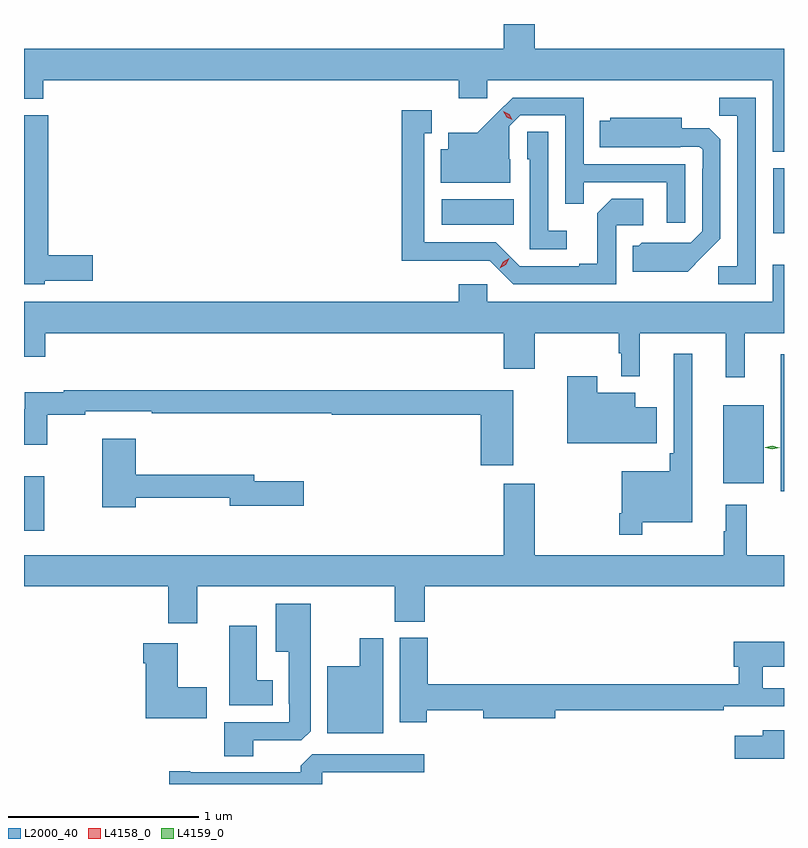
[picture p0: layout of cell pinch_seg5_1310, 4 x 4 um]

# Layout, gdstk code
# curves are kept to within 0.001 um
import gdstk
lib = gdstk.Library(unit=1e-6, precision=1e-09)
def R(c, l, rs):  # rectangles x0, y0, x1, y1
    for r in rs: c.add(gdstk.rectangle(r[:2], r[2:], *l))
def P(c, l, *ps):  # polygons
    for p in ps: c.add(gdstk.Polygon(p, *l))
L2000_40 = (2000, 40)
L4158_0 = (4158, 0)
L4159_0 = (4159, 0)

pinch_seg5_1310 = lib.new_cell('pinch_seg5_1310')
R(pinch_seg5_1310, L2000_40, [(306.34,877.032,306.447,877.318), (310.322,877.241,310.34,877.962), (310.019,877.283,310.234,877.693), (310.283,878.598,310.34,878.941), (308.538,878.642,308.918,878.776)])
P(pinch_seg5_1310, L2000_40, [(310.34,879.568),(309.028,879.568),(309.028,879.699),(308.864,879.699),(308.864,879.568),(306.34,879.568),(306.34,879.305),(306.44,879.305),(306.44,879.404),(308.627,879.404),(308.627,879.309),(308.778,879.309),(308.778,879.404),(310.28,879.404),(310.28,879.026),(310.34,879.026)],
  [(310.191,879.312),(310,879.312),(310,879.217),(310.095,879.217),(310.095,878.424),(309.993,878.424),(309.993,878.328),(310.191,878.328)],
  [(309.819,878.961),(309.285,878.961),(309.285,879.312),(308.912,879.312),(308.725,879.127),(308.573,879.127),(308.573,879.04),(308.534,879.04),(308.534,878.864),(308.899,878.864),(308.899,878.988),(308.895,878.988),(308.895,879.162),(308.952,879.219),(309.189,879.219),(309.189,878.752),(309.287,878.752),(309.287,878.865),(309.723,878.865),(309.723,878.652),(309.819,878.652)],
  [(309.456,878.64),(309.598,878.64),(309.598,878.78),(309.433,878.78),(309.357,878.704),(309.357,878.437),(309.263,878.437),(309.263,878.424),(308.949,878.424),(308.823,878.55),(308.446,878.55),(308.446,879.123),(308.485,879.123),(308.485,879.244),(308.328,879.244),(308.328,878.453),(308.79,878.454),(308.916,878.328),(309.456,878.328)],
  [(306.45,878.348),(306.703,878.348),(306.703,878.483),(306.467,878.483),(306.467,879.218),(306.34,879.218),(306.34,879.12),(306.341,879.12),(306.341,878.608),(306.34,878.608),(306.34,878.33),(306.45,878.33)],
  [(309.913,878.477),(310.005,878.57),(310.005,879.092),(309.946,879.151),(309.802,879.151),(309.802,879.205),(309.426,879.205),(309.426,879.19),(309.37,879.19),(309.37,879.05),(309.794,879.05),(309.794,879.054),(309.894,879.054),(309.912,879.036),(309.912,878.936),(309.909,878.936),(309.909,878.607),(309.849,878.547),(309.592,878.548),(309.576,878.532),(309.545,878.532),(309.545,878.396),(309.833,878.396)],
  [(309.196,878.611),(309.099,878.611),(309.099,879.131),(308.988,879.131),(308.988,878.988),(309.003,878.988),(309.003,878.514),(309.196,878.514)],
  [(310.133,878.072),(310.34,878.072),(310.34,878.431),(310.28,878.431),(310.28,878.236),(308.778,878.236),(308.778,878.329),(308.627,878.329),(308.627,878.236),(306.34,878.236),(306.34,877.948),(306.452,877.948),(306.452,878.072),(308.864,878.072),(308.864,877.884),(309.028,877.884),(309.028,878.072),(309.471,878.072),(309.471,877.965),(309.483,877.965),(309.483,877.844),(309.581,877.844),(309.581,878.072),(310.034,878.072),(310.034,877.839),(310.133,877.839)],
  [(309.595,877.076),(309.856,877.076),(309.856,877.963),(309.759,877.963),(309.759,877.441),(309.739,877.441),(309.739,877.345),(309.486,877.345),(309.486,877.123),(309.474,877.123),(309.474,877.011),(309.595,877.011)],
  [(309.67,877.681),(309.556,877.681),(309.556,877.759),(309.358,877.759),(309.358,877.846),(309.2,877.846),(309.2,877.493),(309.67,877.493)],
  [(308.914,877.771),(306.55,877.771),(306.55,877.76),(306.344,877.76),(306.344,877.672),(306.34,877.672),(306.34,877.484),(306.462,877.484),(306.462,877.642),(306.662,877.642),(306.662,877.661),(307.012,877.661),(307.012,877.65),(307.96,877.65),(307.96,877.642),(308.744,877.642),(308.744,877.377),(308.914,877.377)],
  [(306.929,877.206),(307.424,877.206),(307.424,877.163),(307.813,877.163),(307.813,877.293),(307.552,877.293),(307.552,877.327),(306.929,877.327),(306.929,877.516),(306.751,877.516),(306.751,877.155),(306.929,877.155)],
  [(307.252,876.74),(308.29,876.74),(308.29,876.553),(308.45,876.553),(308.45,876.74),(310.34,876.74),(310.34,876.904),(310.144,876.904),(310.144,877.168),(310.034,877.168),(310.034,877.028),(310.023,877.028),(310.023,876.904),(309.028,876.904),(309.028,877.279),(308.864,877.279),(308.864,876.904),(306.34,876.904),(306.34,876.74),(307.1,876.74),(307.1,876.546),(307.252,876.546)],
  [(307.546,875.928),(307.8,875.928),(307.849,875.977),(307.849,876.649),(307.664,876.649),(307.664,876.395),(307.733,876.395),(307.733,876.121),(307.737,876.121),(307.737,876.024),(307.394,876.024),(307.394,875.845),(307.546,875.845)],
  [(307.648,876.244),(307.564,876.244),(307.564,876.532),(307.421,876.532),(307.421,876.113),(307.648,876.113)],
  [(308.46,876.088),(308.756,876.088),(308.756,876.046),(309.136,876.046),(309.136,876.088),(310.022,876.088),(310.022,876.108),(310.34,876.108),(310.34,876.204),(310.228,876.204),(310.228,876.317),(310.34,876.317),(310.34,876.447),(310.076,876.447),(310.076,876.317),(310.103,876.317),(310.103,876.224),(308.465,876.224),(308.465,876.468),(308.318,876.468),(308.318,876.024),(308.46,876.024)],
  [(308.23,876.466),(308.108,876.466),(308.108,876.319),(307.937,876.319),(307.937,875.966),(308.23,875.966)],
  [(307.303,876.207),(307.15,876.207),(307.15,876.439),(306.968,876.439),(306.968,876.335),(306.98,876.335),(306.98,876.044),(307.303,876.044)],
  [(310.34,875.982),(310.229,875.982),(310.229,875.953),(310.08,875.953),(310.08,875.831),(310.34,875.831)],
  [(307.911,875.76),(308.446,875.76),(308.446,875.856),(307.857,875.856),(307.796,875.794),(307.796,875.76),(307.216,875.76),(307.216,875.765),(307.104,875.765),(307.104,875.699),(307.911,875.699)])
P(pinch_seg5_1310, L4158_0, [(308.91,879.194),(308.88,879.209),(308.863,879.239),(308.863,879.239),(308.863,879.239),(308.894,879.224),(308.91,879.194),(308.91,879.194)],
  [(308.844,878.414),(308.844,878.414),(308.862,878.447),(308.894,878.466),(308.894,878.466),(308.894,878.466),(308.876,878.433),(308.844,878.414)])
P(pinch_seg5_1310, L4159_0, [(310.279,877.46),(310.24,877.47),(310.24,877.47),(310.24,877.471),(310.279,877.48),(310.317,877.47),(310.318,877.47),(310.317,877.469)])

lib.write_gds('pinch_seg5_1310.gds')
